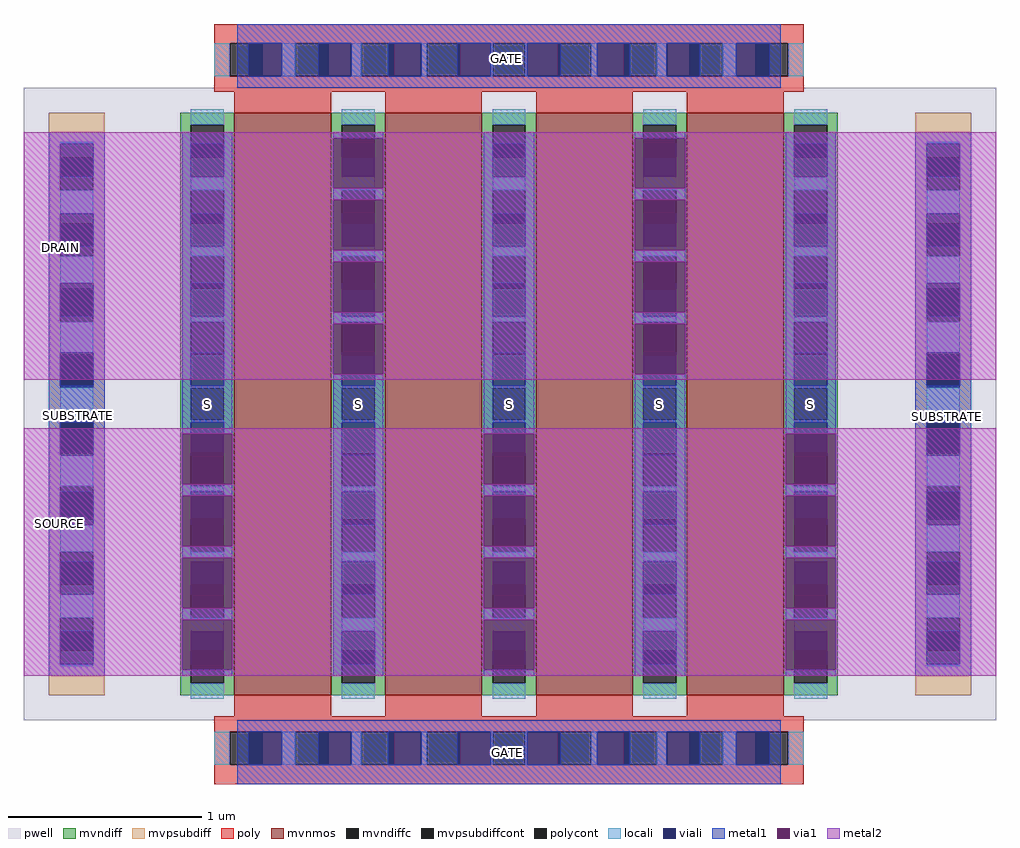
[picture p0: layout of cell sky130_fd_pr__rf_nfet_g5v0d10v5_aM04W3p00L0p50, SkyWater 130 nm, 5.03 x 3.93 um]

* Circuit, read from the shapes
.subckt sky130_fd_pr__rf_nfet_g5v0d10v5_aM04W3p00L0p50 DRAIN GATE SOURCE SUBSTRATE
XM1 DRAIN GATE SOURCE SUBSTRATE sky130_fd_pr__nfet_g5v0d10v5 w=3.01 l=0.5 m=4
.ends

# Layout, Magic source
magic
tech sky130A
magscale 1 2
<< pwell >>
rect 10 66 1016 720
<< mvnmos >>
rect 228 92 328 694
rect 384 92 484 694
rect 540 92 640 694
rect 696 92 796 694
<< mvndiff >>
rect 172 682 228 694
rect 172 648 183 682
rect 217 648 228 682
rect 172 614 228 648
rect 172 580 183 614
rect 217 580 228 614
rect 172 546 228 580
rect 172 512 183 546
rect 217 512 228 546
rect 172 478 228 512
rect 172 444 183 478
rect 217 444 228 478
rect 172 410 228 444
rect 172 376 183 410
rect 217 376 228 410
rect 172 342 228 376
rect 172 308 183 342
rect 217 308 228 342
rect 172 274 228 308
rect 172 240 183 274
rect 217 240 228 274
rect 172 206 228 240
rect 172 172 183 206
rect 217 172 228 206
rect 172 138 228 172
rect 172 104 183 138
rect 217 104 228 138
rect 172 92 228 104
rect 328 682 384 694
rect 328 648 339 682
rect 373 648 384 682
rect 328 614 384 648
rect 328 580 339 614
rect 373 580 384 614
rect 328 546 384 580
rect 328 512 339 546
rect 373 512 384 546
rect 328 478 384 512
rect 328 444 339 478
rect 373 444 384 478
rect 328 410 384 444
rect 328 376 339 410
rect 373 376 384 410
rect 328 342 384 376
rect 328 308 339 342
rect 373 308 384 342
rect 328 274 384 308
rect 328 240 339 274
rect 373 240 384 274
rect 328 206 384 240
rect 328 172 339 206
rect 373 172 384 206
rect 328 138 384 172
rect 328 104 339 138
rect 373 104 384 138
rect 328 92 384 104
rect 484 682 540 694
rect 484 648 495 682
rect 529 648 540 682
rect 484 614 540 648
rect 484 580 495 614
rect 529 580 540 614
rect 484 546 540 580
rect 484 512 495 546
rect 529 512 540 546
rect 484 478 540 512
rect 484 444 495 478
rect 529 444 540 478
rect 484 410 540 444
rect 484 376 495 410
rect 529 376 540 410
rect 484 342 540 376
rect 484 308 495 342
rect 529 308 540 342
rect 484 274 540 308
rect 484 240 495 274
rect 529 240 540 274
rect 484 206 540 240
rect 484 172 495 206
rect 529 172 540 206
rect 484 138 540 172
rect 484 104 495 138
rect 529 104 540 138
rect 484 92 540 104
rect 640 682 696 694
rect 640 648 651 682
rect 685 648 696 682
rect 640 614 696 648
rect 640 580 651 614
rect 685 580 696 614
rect 640 546 696 580
rect 640 512 651 546
rect 685 512 696 546
rect 640 478 696 512
rect 640 444 651 478
rect 685 444 696 478
rect 640 410 696 444
rect 640 376 651 410
rect 685 376 696 410
rect 640 342 696 376
rect 640 308 651 342
rect 685 308 696 342
rect 640 274 696 308
rect 640 240 651 274
rect 685 240 696 274
rect 640 206 696 240
rect 640 172 651 206
rect 685 172 696 206
rect 640 138 696 172
rect 640 104 651 138
rect 685 104 696 138
rect 640 92 696 104
rect 796 682 852 694
rect 796 648 807 682
rect 841 648 852 682
rect 796 614 852 648
rect 796 580 807 614
rect 841 580 852 614
rect 796 546 852 580
rect 796 512 807 546
rect 841 512 852 546
rect 796 478 852 512
rect 796 444 807 478
rect 841 444 852 478
rect 796 410 852 444
rect 796 376 807 410
rect 841 376 852 410
rect 796 342 852 376
rect 796 308 807 342
rect 841 308 852 342
rect 796 274 852 308
rect 796 240 807 274
rect 841 240 852 274
rect 796 206 852 240
rect 796 172 807 206
rect 841 172 852 206
rect 796 138 852 172
rect 796 104 807 138
rect 841 104 852 138
rect 796 92 852 104
<< mvndiffc >>
rect 183 648 217 682
rect 183 580 217 614
rect 183 512 217 546
rect 183 444 217 478
rect 183 376 217 410
rect 183 308 217 342
rect 183 240 217 274
rect 183 172 217 206
rect 183 104 217 138
rect 339 648 373 682
rect 339 580 373 614
rect 339 512 373 546
rect 339 444 373 478
rect 339 376 373 410
rect 339 308 373 342
rect 339 240 373 274
rect 339 172 373 206
rect 339 104 373 138
rect 495 648 529 682
rect 495 580 529 614
rect 495 512 529 546
rect 495 444 529 478
rect 495 376 529 410
rect 495 308 529 342
rect 495 240 529 274
rect 495 172 529 206
rect 495 104 529 138
rect 651 648 685 682
rect 651 580 685 614
rect 651 512 685 546
rect 651 444 685 478
rect 651 376 685 410
rect 651 308 685 342
rect 651 240 685 274
rect 651 172 685 206
rect 651 104 685 138
rect 807 648 841 682
rect 807 580 841 614
rect 807 512 841 546
rect 807 444 841 478
rect 807 376 841 410
rect 807 308 841 342
rect 807 240 841 274
rect 807 172 841 206
rect 807 104 841 138
<< mvpsubdiff >>
rect 36 648 94 694
rect 36 614 48 648
rect 82 614 94 648
rect 36 580 94 614
rect 36 546 48 580
rect 82 546 94 580
rect 36 512 94 546
rect 36 478 48 512
rect 82 478 94 512
rect 36 444 94 478
rect 36 410 48 444
rect 82 410 94 444
rect 36 376 94 410
rect 36 342 48 376
rect 82 342 94 376
rect 36 308 94 342
rect 36 274 48 308
rect 82 274 94 308
rect 36 240 94 274
rect 36 206 48 240
rect 82 206 94 240
rect 36 172 94 206
rect 36 138 48 172
rect 82 138 94 172
rect 36 92 94 138
rect 932 648 990 694
rect 932 614 944 648
rect 978 614 990 648
rect 932 580 990 614
rect 932 546 944 580
rect 978 546 990 580
rect 932 512 990 546
rect 932 478 944 512
rect 978 478 990 512
rect 932 444 990 478
rect 932 410 944 444
rect 978 410 990 444
rect 932 376 990 410
rect 932 342 944 376
rect 978 342 990 376
rect 932 308 990 342
rect 932 274 944 308
rect 978 274 990 308
rect 932 240 990 274
rect 932 206 944 240
rect 978 206 990 240
rect 932 172 990 206
rect 932 138 944 172
rect 978 138 990 172
rect 932 92 990 138
<< mvpsubdiffcont >>
rect 48 614 82 648
rect 48 546 82 580
rect 48 478 82 512
rect 48 410 82 444
rect 48 342 82 376
rect 48 274 82 308
rect 48 206 82 240
rect 48 138 82 172
rect 944 614 978 648
rect 944 546 978 580
rect 944 478 978 512
rect 944 410 978 444
rect 944 342 978 376
rect 944 274 978 308
rect 944 206 978 240
rect 944 138 978 172
<< poly >>
rect 207 766 817 786
rect 207 732 223 766
rect 257 732 291 766
rect 325 732 359 766
rect 393 732 427 766
rect 461 732 495 766
rect 529 732 563 766
rect 597 732 631 766
rect 665 732 699 766
rect 733 732 767 766
rect 801 732 817 766
rect 207 716 817 732
rect 228 694 328 716
rect 384 694 484 716
rect 540 694 640 716
rect 696 694 796 716
rect 228 70 328 92
rect 384 70 484 92
rect 540 70 640 92
rect 696 70 796 92
rect 207 54 817 70
rect 207 20 223 54
rect 257 20 291 54
rect 325 20 359 54
rect 393 20 427 54
rect 461 20 495 54
rect 529 20 563 54
rect 597 20 631 54
rect 665 20 699 54
rect 733 20 767 54
rect 801 20 817 54
rect 207 0 817 20
<< polycont >>
rect 223 732 257 766
rect 291 732 325 766
rect 359 732 393 766
rect 427 732 461 766
rect 495 732 529 766
rect 563 732 597 766
rect 631 732 665 766
rect 699 732 733 766
rect 767 732 801 766
rect 223 20 257 54
rect 291 20 325 54
rect 359 20 393 54
rect 427 20 461 54
rect 495 20 529 54
rect 563 20 597 54
rect 631 20 665 54
rect 699 20 733 54
rect 767 20 801 54
<< locali >>
rect 207 732 223 766
rect 277 732 291 766
rect 349 732 359 766
rect 421 732 427 766
rect 493 732 495 766
rect 529 732 531 766
rect 597 732 603 766
rect 665 732 675 766
rect 733 732 747 766
rect 801 732 817 766
rect 183 682 217 698
rect 48 662 82 664
rect 48 590 82 614
rect 48 518 82 546
rect 48 446 82 478
rect 48 376 82 410
rect 48 308 82 340
rect 48 240 82 268
rect 48 172 82 196
rect 48 122 82 124
rect 183 614 217 628
rect 183 546 217 556
rect 183 478 217 484
rect 183 410 217 412
rect 183 374 217 376
rect 183 302 217 308
rect 183 230 217 240
rect 183 158 217 172
rect 183 88 217 104
rect 339 682 373 698
rect 339 614 373 628
rect 339 546 373 556
rect 339 478 373 484
rect 339 410 373 412
rect 339 374 373 376
rect 339 302 373 308
rect 339 230 373 240
rect 339 158 373 172
rect 339 88 373 104
rect 495 682 529 698
rect 495 614 529 628
rect 495 546 529 556
rect 495 478 529 484
rect 495 410 529 412
rect 495 374 529 376
rect 495 302 529 308
rect 495 230 529 240
rect 495 158 529 172
rect 495 88 529 104
rect 651 682 685 698
rect 651 614 685 628
rect 651 546 685 556
rect 651 478 685 484
rect 651 410 685 412
rect 651 374 685 376
rect 651 302 685 308
rect 651 230 685 240
rect 651 158 685 172
rect 651 88 685 104
rect 807 682 841 698
rect 807 614 841 628
rect 807 546 841 556
rect 807 478 841 484
rect 807 410 841 412
rect 807 374 841 376
rect 807 302 841 308
rect 807 230 841 240
rect 807 158 841 172
rect 944 662 978 664
rect 944 590 978 614
rect 944 518 978 546
rect 944 446 978 478
rect 944 376 978 410
rect 944 308 978 340
rect 944 240 978 268
rect 944 172 978 196
rect 944 122 978 124
rect 807 88 841 104
rect 207 20 223 54
rect 277 20 291 54
rect 349 20 359 54
rect 421 20 427 54
rect 493 20 495 54
rect 529 20 531 54
rect 597 20 603 54
rect 665 20 675 54
rect 733 20 747 54
rect 801 20 817 54
<< viali >>
rect 243 732 257 766
rect 257 732 277 766
rect 315 732 325 766
rect 325 732 349 766
rect 387 732 393 766
rect 393 732 421 766
rect 459 732 461 766
rect 461 732 493 766
rect 531 732 563 766
rect 563 732 565 766
rect 603 732 631 766
rect 631 732 637 766
rect 675 732 699 766
rect 699 732 709 766
rect 747 732 767 766
rect 767 732 781 766
rect 48 648 82 662
rect 48 628 82 648
rect 48 580 82 590
rect 48 556 82 580
rect 48 512 82 518
rect 48 484 82 512
rect 48 444 82 446
rect 48 412 82 444
rect 48 342 82 374
rect 48 340 82 342
rect 48 274 82 302
rect 48 268 82 274
rect 48 206 82 230
rect 48 196 82 206
rect 48 138 82 158
rect 48 124 82 138
rect 183 648 217 662
rect 183 628 217 648
rect 183 580 217 590
rect 183 556 217 580
rect 183 512 217 518
rect 183 484 217 512
rect 183 444 217 446
rect 183 412 217 444
rect 183 342 217 374
rect 183 340 217 342
rect 183 274 217 302
rect 183 268 217 274
rect 183 206 217 230
rect 183 196 217 206
rect 183 138 217 158
rect 183 124 217 138
rect 339 648 373 662
rect 339 628 373 648
rect 339 580 373 590
rect 339 556 373 580
rect 339 512 373 518
rect 339 484 373 512
rect 339 444 373 446
rect 339 412 373 444
rect 339 342 373 374
rect 339 340 373 342
rect 339 274 373 302
rect 339 268 373 274
rect 339 206 373 230
rect 339 196 373 206
rect 339 138 373 158
rect 339 124 373 138
rect 495 648 529 662
rect 495 628 529 648
rect 495 580 529 590
rect 495 556 529 580
rect 495 512 529 518
rect 495 484 529 512
rect 495 444 529 446
rect 495 412 529 444
rect 495 342 529 374
rect 495 340 529 342
rect 495 274 529 302
rect 495 268 529 274
rect 495 206 529 230
rect 495 196 529 206
rect 495 138 529 158
rect 495 124 529 138
rect 651 648 685 662
rect 651 628 685 648
rect 651 580 685 590
rect 651 556 685 580
rect 651 512 685 518
rect 651 484 685 512
rect 651 444 685 446
rect 651 412 685 444
rect 651 342 685 374
rect 651 340 685 342
rect 651 274 685 302
rect 651 268 685 274
rect 651 206 685 230
rect 651 196 685 206
rect 651 138 685 158
rect 651 124 685 138
rect 807 648 841 662
rect 807 628 841 648
rect 807 580 841 590
rect 807 556 841 580
rect 807 512 841 518
rect 807 484 841 512
rect 807 444 841 446
rect 807 412 841 444
rect 807 342 841 374
rect 807 340 841 342
rect 807 274 841 302
rect 807 268 841 274
rect 807 206 841 230
rect 807 196 841 206
rect 807 138 841 158
rect 807 124 841 138
rect 944 648 978 662
rect 944 628 978 648
rect 944 580 978 590
rect 944 556 978 580
rect 944 512 978 518
rect 944 484 978 512
rect 944 444 978 446
rect 944 412 978 444
rect 944 342 978 374
rect 944 340 978 342
rect 944 274 978 302
rect 944 268 978 274
rect 944 206 978 230
rect 944 196 978 206
rect 944 138 978 158
rect 944 124 978 138
rect 243 20 257 54
rect 257 20 277 54
rect 315 20 325 54
rect 325 20 349 54
rect 387 20 393 54
rect 393 20 421 54
rect 459 20 461 54
rect 461 20 493 54
rect 531 20 563 54
rect 563 20 565 54
rect 603 20 631 54
rect 631 20 637 54
rect 675 20 699 54
rect 699 20 709 54
rect 747 20 767 54
rect 767 20 781 54
<< metal1 >>
rect 231 766 793 786
rect 231 732 243 766
rect 277 732 315 766
rect 349 732 387 766
rect 421 732 459 766
rect 493 732 531 766
rect 565 732 603 766
rect 637 732 675 766
rect 709 732 747 766
rect 781 732 793 766
rect 231 720 793 732
rect 36 662 94 674
rect 36 628 48 662
rect 82 628 94 662
rect 36 590 94 628
rect 36 556 48 590
rect 82 556 94 590
rect 36 518 94 556
rect 36 484 48 518
rect 82 484 94 518
rect 36 446 94 484
rect 36 412 48 446
rect 82 412 94 446
rect 36 374 94 412
rect 36 340 48 374
rect 82 340 94 374
rect 36 302 94 340
rect 36 268 48 302
rect 82 268 94 302
rect 36 230 94 268
rect 36 196 48 230
rect 82 196 94 230
rect 36 158 94 196
rect 36 124 48 158
rect 82 124 94 158
rect 36 112 94 124
rect 174 662 226 674
rect 174 628 183 662
rect 217 628 226 662
rect 174 590 226 628
rect 174 556 183 590
rect 217 556 226 590
rect 174 518 226 556
rect 174 484 183 518
rect 217 484 226 518
rect 174 446 226 484
rect 174 412 183 446
rect 217 412 226 446
rect 174 374 226 412
rect 174 362 183 374
rect 217 362 226 374
rect 174 302 226 310
rect 174 298 183 302
rect 217 298 226 302
rect 174 234 226 246
rect 174 170 226 182
rect 174 112 226 118
rect 330 668 382 674
rect 330 604 382 616
rect 330 540 382 552
rect 330 484 339 488
rect 373 484 382 488
rect 330 476 382 484
rect 330 412 339 424
rect 373 412 382 424
rect 330 374 382 412
rect 330 340 339 374
rect 373 340 382 374
rect 330 302 382 340
rect 330 268 339 302
rect 373 268 382 302
rect 330 230 382 268
rect 330 196 339 230
rect 373 196 382 230
rect 330 158 382 196
rect 330 124 339 158
rect 373 124 382 158
rect 330 112 382 124
rect 486 662 538 674
rect 486 628 495 662
rect 529 628 538 662
rect 486 590 538 628
rect 486 556 495 590
rect 529 556 538 590
rect 486 518 538 556
rect 486 484 495 518
rect 529 484 538 518
rect 486 446 538 484
rect 486 412 495 446
rect 529 412 538 446
rect 486 374 538 412
rect 486 362 495 374
rect 529 362 538 374
rect 486 302 538 310
rect 486 298 495 302
rect 529 298 538 302
rect 486 234 538 246
rect 486 170 538 182
rect 486 112 538 118
rect 642 668 694 674
rect 642 604 694 616
rect 642 540 694 552
rect 642 484 651 488
rect 685 484 694 488
rect 642 476 694 484
rect 642 412 651 424
rect 685 412 694 424
rect 642 374 694 412
rect 642 340 651 374
rect 685 340 694 374
rect 642 302 694 340
rect 642 268 651 302
rect 685 268 694 302
rect 642 230 694 268
rect 642 196 651 230
rect 685 196 694 230
rect 642 158 694 196
rect 642 124 651 158
rect 685 124 694 158
rect 642 112 694 124
rect 798 662 850 674
rect 798 628 807 662
rect 841 628 850 662
rect 798 590 850 628
rect 798 556 807 590
rect 841 556 850 590
rect 798 518 850 556
rect 798 484 807 518
rect 841 484 850 518
rect 798 446 850 484
rect 798 412 807 446
rect 841 412 850 446
rect 798 374 850 412
rect 798 362 807 374
rect 841 362 850 374
rect 798 302 850 310
rect 798 298 807 302
rect 841 298 850 302
rect 798 234 850 246
rect 798 170 850 182
rect 798 112 850 118
rect 932 662 990 674
rect 932 628 944 662
rect 978 628 990 662
rect 932 590 990 628
rect 932 556 944 590
rect 978 556 990 590
rect 932 518 990 556
rect 932 484 944 518
rect 978 484 990 518
rect 932 446 990 484
rect 932 412 944 446
rect 978 412 990 446
rect 932 374 990 412
rect 932 340 944 374
rect 978 340 990 374
rect 932 302 990 340
rect 932 268 944 302
rect 978 268 990 302
rect 932 230 990 268
rect 932 196 944 230
rect 978 196 990 230
rect 932 158 990 196
rect 932 124 944 158
rect 978 124 990 158
rect 932 112 990 124
rect 231 54 793 66
rect 231 20 243 54
rect 277 20 315 54
rect 349 20 387 54
rect 421 20 459 54
rect 493 20 531 54
rect 565 20 603 54
rect 637 20 675 54
rect 709 20 747 54
rect 781 20 793 54
rect 231 0 793 20
<< via1 >>
rect 174 340 183 362
rect 183 340 217 362
rect 217 340 226 362
rect 174 310 226 340
rect 174 268 183 298
rect 183 268 217 298
rect 217 268 226 298
rect 174 246 226 268
rect 174 230 226 234
rect 174 196 183 230
rect 183 196 217 230
rect 217 196 226 230
rect 174 182 226 196
rect 174 158 226 170
rect 174 124 183 158
rect 183 124 217 158
rect 217 124 226 158
rect 174 118 226 124
rect 330 662 382 668
rect 330 628 339 662
rect 339 628 373 662
rect 373 628 382 662
rect 330 616 382 628
rect 330 590 382 604
rect 330 556 339 590
rect 339 556 373 590
rect 373 556 382 590
rect 330 552 382 556
rect 330 518 382 540
rect 330 488 339 518
rect 339 488 373 518
rect 373 488 382 518
rect 330 446 382 476
rect 330 424 339 446
rect 339 424 373 446
rect 373 424 382 446
rect 486 340 495 362
rect 495 340 529 362
rect 529 340 538 362
rect 486 310 538 340
rect 486 268 495 298
rect 495 268 529 298
rect 529 268 538 298
rect 486 246 538 268
rect 486 230 538 234
rect 486 196 495 230
rect 495 196 529 230
rect 529 196 538 230
rect 486 182 538 196
rect 486 158 538 170
rect 486 124 495 158
rect 495 124 529 158
rect 529 124 538 158
rect 486 118 538 124
rect 642 662 694 668
rect 642 628 651 662
rect 651 628 685 662
rect 685 628 694 662
rect 642 616 694 628
rect 642 590 694 604
rect 642 556 651 590
rect 651 556 685 590
rect 685 556 694 590
rect 642 552 694 556
rect 642 518 694 540
rect 642 488 651 518
rect 651 488 685 518
rect 685 488 694 518
rect 642 446 694 476
rect 642 424 651 446
rect 651 424 685 446
rect 685 424 694 446
rect 798 340 807 362
rect 807 340 841 362
rect 841 340 850 362
rect 798 310 850 340
rect 798 268 807 298
rect 807 268 841 298
rect 841 268 850 298
rect 798 246 850 268
rect 798 230 850 234
rect 798 196 807 230
rect 807 196 841 230
rect 841 196 850 230
rect 798 182 850 196
rect 798 158 850 170
rect 798 124 807 158
rect 807 124 841 158
rect 841 124 850 158
rect 798 118 850 124
<< metal2 >>
rect 10 668 1016 674
rect 10 616 330 668
rect 382 616 642 668
rect 694 616 1016 668
rect 10 604 1016 616
rect 10 552 330 604
rect 382 552 642 604
rect 694 552 1016 604
rect 10 540 1016 552
rect 10 488 330 540
rect 382 488 642 540
rect 694 488 1016 540
rect 10 476 1016 488
rect 10 424 330 476
rect 382 424 642 476
rect 694 424 1016 476
rect 10 418 1016 424
rect 10 362 1016 368
rect 10 310 174 362
rect 226 310 486 362
rect 538 310 798 362
rect 850 310 1016 362
rect 10 298 1016 310
rect 10 246 174 298
rect 226 246 486 298
rect 538 246 798 298
rect 850 246 1016 298
rect 10 234 1016 246
rect 10 182 174 234
rect 226 182 486 234
rect 538 182 798 234
rect 850 182 1016 234
rect 10 170 1016 182
rect 10 118 174 170
rect 226 118 486 170
rect 538 118 798 170
rect 850 118 1016 170
rect 10 112 1016 118
<< labels >>
flabel comment s 200 393 200 393 0 FreeSans 300 0 0 0 S
flabel comment s 356 393 356 393 0 FreeSans 300 0 0 0 S
flabel comment s 512 393 512 393 0 FreeSans 300 0 0 0 S
flabel comment s 668 393 668 393 0 FreeSans 300 0 0 0 S
flabel comment s 200 393 200 393 0 FreeSans 300 0 0 0 S
flabel comment s 356 393 356 393 0 FreeSans 300 0 0 0 D
flabel comment s 512 393 512 393 0 FreeSans 300 0 0 0 S
flabel comment s 668 393 668 393 0 FreeSans 300 0 0 0 D
flabel comment s 824 393 824 393 0 FreeSans 300 0 0 0 S
flabel metal2 s 32 217 62 321 0 FreeSans 200 0 0 0 SOURCE
port 3 nsew
flabel metal2 s 31 506 66 603 0 FreeSans 200 0 0 0 DRAIN
port 1 nsew
flabel metal1 s 459 730 560 770 0 FreeSans 200 0 0 0 GATE
port 2 nsew
flabel metal1 s 461 16 559 50 0 FreeSans 200 0 0 0 GATE
port 2 nsew
flabel metal1 s 951 327 980 433 0 FreeSans 200 90 0 0 SUBSTRATE
port 4 nsew
flabel metal1 s 53 333 81 430 0 FreeSans 200 90 0 0 SUBSTRATE
port 4 nsew
<< properties >>
string GDS_FILE $PDKPATH/libs.ref/sky130_fd_pr/gds/sky130_fd_pr.gds
string GDS_END 7519818
string GDS_START 7502168
<< end >>
